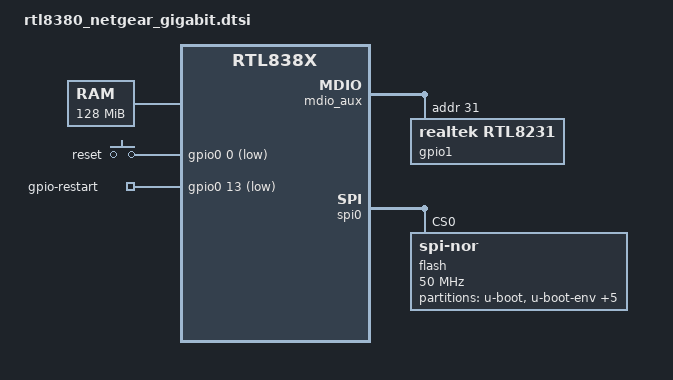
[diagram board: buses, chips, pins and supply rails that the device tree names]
// SPDX-License-Identifier: GPL-2.0-or-later

#include "rtl838x.dtsi"

#include <dt-bindings/input/input.h>
#include <dt-bindings/gpio/gpio.h>

/ {
	compatible = "realtek,rtl838x-soc";

	aliases {
		label-mac-device = &ethernet0;
	};

	memory@0 {
		device_type = "memory";
		reg = <0x0 0x8000000>;
	};

	keys {
		pinctrl-names = "default";
		pinctrl-0 = <&pinmux_disable_sys_led>;

		compatible = "gpio-keys";

		mode {
			label = "reset";
			gpios = <&gpio0 0 GPIO_ACTIVE_LOW>;
			linux,code = <KEY_RESTART>;
		};
	};

	gpio-restart {
		compatible = "gpio-restart";
		gpios = <&gpio0 13 GPIO_ACTIVE_LOW>;
		open-source;
	};
};

&mdio_aux {
	status = "okay";

	gpio1: expander@31 {
		compatible = "realtek,rtl8231";
		reg = <31>;

		gpio-controller;
		#gpio-cells = <2>;
		gpio-ranges = <&gpio1 0 0 37>;

		led-controller {
			compatible = "realtek,rtl8231-leds";
			status = "disabled";
		};
	};
};

&mdio_bus0 {
	PHY_C22(8, 8)
	PHY_C22(9, 9)
	PHY_C22(10, 10)
	PHY_C22(11, 11)
	PHY_C22(12, 12)
	PHY_C22(13, 13)
	PHY_C22(14, 14)
	PHY_C22(15, 15)
};

&spi0 {
	status = "okay";

	flash@0 {
		compatible = "jedec,spi-nor";
		reg = <0>;
		spi-max-frequency = <50000000>;

		partitions {
			compatible = "fixed-partitions";
			#address-cells = <1>;
			#size-cells = <1>;

			partition@0 {
				label = "u-boot";
				reg = <0x0000000 0x00e0000>;
				read-only;
			};

			partition@e0000 {
				label = "u-boot-env";
				reg = <0x00e0000 0x0010000>;

				nvmem-layout {
					compatible = "u-boot,env";

					macaddr_ubootenv_ethaddr: ethaddr {
						#nvmem-cell-cells = <1>;
					};
				};
			};

			partition@f0000 {
				label = "u-boot-env2";
				reg = <0x00f0000 0x0010000>;
			};

			partition@100000 {
				label = "jffs";
				reg = <0x0100000 0x0100000>;
				read-only;
			};

			partition@200000 {
				label = "jffs2";
				reg = <0x0200000 0x0100000>;
				read-only;
			};

			firmware: partition@300000 {
				label = "firmware";
				compatible = "openwrt,uimage", "denx,uimage";
				reg = <0x0300000 0x0e80000>;
			};

			partition@1180000 {
				label = "runtime2";
				reg = <0x1180000 0x0e80000>;
				read-only;
			};
		};
	};
};

&ethernet0 {
	nvmem-cells = <&macaddr_ubootenv_ethaddr 0>;
	nvmem-cell-names = "mac-address";
};

&switch0 {
	ethernet-ports {
		#address-cells = <1>;
		#size-cells = <0>;

		SWITCH_PORT(8, 1, internal)
		SWITCH_PORT(9, 2, internal)
		SWITCH_PORT(10, 3, internal)
		SWITCH_PORT(11, 4, internal)
		SWITCH_PORT(12, 5, internal)
		SWITCH_PORT(13, 6, internal)
		SWITCH_PORT(14, 7, internal)
		SWITCH_PORT(15, 8, internal)

		port@28 {
			ethernet = <&ethernet0>;
			reg = <28>;
			phy-mode = "internal";
			fixed-link {
				speed = <1000>;
				full-duplex;
			};
		};
	};
};
